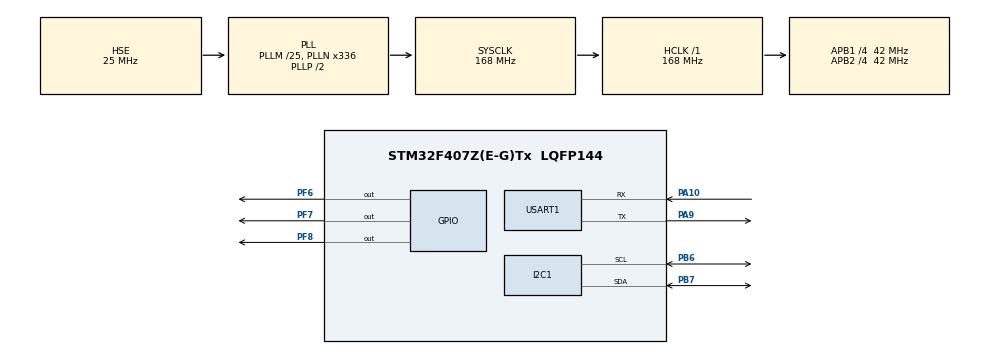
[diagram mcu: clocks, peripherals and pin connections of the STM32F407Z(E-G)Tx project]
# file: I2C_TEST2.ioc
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I2C1.I2C_Mode=I2C_Fast
Mcu.Family=STM32F4
Mcu.Name=STM32F407Z(E-G)Tx
Mcu.Package=LQFP144
NVIC.I2C1_ER_IRQn=true\:0\:0\:false\:false\:true\:true\:true
NVIC.I2C1_EV_IRQn=true\:0\:0\:false\:false\:true\:true\:true
NVIC.PriorityGroup=NVIC_PRIORITYGROUP_4
NVIC.RCC_IRQn=true\:0\:0\:false\:false\:true\:true\:false
NVIC.USART1_IRQn=true\:0\:0\:false\:false\:true\:true\:true
PA10.Mode=Asynchronous
PA10.Signal=USART1_RX
PA13.Mode=Serial_Wire
PA13.Signal=SYS_JTMS-SWDIO
PA14.Mode=Serial_Wire
PA14.Signal=SYS_JTCK-SWCLK
PA9.Mode=Asynchronous
PA9.Signal=USART1_TX
PB6.Mode=I2C
PB6.Signal=I2C1_SCL
PB7.Mode=I2C
PB7.Signal=I2C1_SDA
PC14-OSC32_IN.Mode=LSE-External-Oscillator
PC14-OSC32_IN.Signal=RCC_OSC32_IN
PC15-OSC32_OUT.Mode=LSE-External-Oscillator
PC15-OSC32_OUT.Signal=RCC_OSC32_OUT
PF6.Signal=GPIO_Output
PF7.Signal=GPIO_Output
PF8.Signal=GPIO_Output
PH0-OSC_IN.Mode=HSE-External-Oscillator
PH0-OSC_IN.Signal=RCC_OSC_IN
PH1-OSC_OUT.Mode=HSE-External-Oscillator
PH1-OSC_OUT.Signal=RCC_OSC_OUT
ProjectManager.HeapSize=0x200
ProjectManager.StackSize=0x400
ProjectManager.TargetToolchain=TrueSTUDIO
RCC.48MHZClocksFreq_Value=84000000
RCC.AHBFreq_Value=168000000
RCC.APB1CLKDivider=RCC_HCLK_DIV4
RCC.APB1Freq_Value=42000000
RCC.APB1TimFreq_Value=84000000
RCC.APB2CLKDivider=RCC_HCLK_DIV4
RCC.APB2Freq_Value=42000000
RCC.APB2TimFreq_Value=84000000
RCC.CortexFreq_Value=168000000
RCC.HCLKFreq_Value=168000000
RCC.HSE_VALUE=25000000
RCC.HSI_VALUE=16000000
RCC.PLLM=25
RCC.PLLN=336
RCC.PLLSourceVirtual=RCC_PLLSOURCE_HSE
RCC.SYSCLKFreq_VALUE=168000000
RCC.SYSCLKSource=RCC_SYSCLKSOURCE_PLLCLK
RCC.VCOOutputFreq_Value=336000000
USART1.VirtualMode=VM_ASYNC
board=custom

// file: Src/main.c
/* USER CODE BEGIN Header */
/**
  ******************************************************************************
  * @file           : main.c
  * @brief          : Main program body
  ******************************************************************************
  * @attention
  *
  * <h2><center>&copy; Copyright (c) 2019 STMicroelectronics.
  * All rights reserved.</center></h2>
  *
  * This software component is licensed by ST under BSD 3-Clause license,
  * the "License"; You may not use this file except in compliance with the
  * License. You may obtain a copy of the License at:
  *                        opensource.org/licenses/BSD-3-Clause
  *
  ******************************************************************************
  */
/* USER CODE END Header */

#include "main.h"
#include "i2c.h"
#include "usart.h"
#include "gpio.h"

/* USER CODE BEGIN Includes */
#include <stdio.h>
#include "MPU9250.h"
#include "tm_stm32_ahrs_imu.h"
/* USER CODE END Includes */

/* USER CODE BEGIN PV */
MPU9250_t MPU9250;
float filtered_Az;
TM_AHRSIMU_t IMU;
/* USER CODE END PV */

void SystemClock_Config(void);
/* USER CODE BEGIN PFP */
#ifdef __GNUC__
/* With GCC/RAISONANCE, small printf (option LD Linker->Libraries->Small printf
   set to 'Yes') calls __io_putchar() */
#define PUTCHAR_PROTOTYPE int __io_putchar(int ch)
#else
#define PUTCHAR_PROTOTYPE int fputc(int ch, FILE *f)
#endif /* __GNUC__ */

PUTCHAR_PROTOTYPE
{
    /* Place your implementation of fputc here */
    /* e.g. write a character to the Debug USART and Loop until the end of transmission */

    if('\n' == ch)
    {
        int ch_tmp = '\r';

        /* Place your implementation of fputc here */
        /* e.g. write a character to the EVAL_COM1 and Loop until the end of transmission */
        HAL_UART_Transmit(&huart1, (uint8_t *)&ch_tmp, 1, 0xFFFF);
    }

    /* Place your implementation of fputc here */
    /* e.g. write a character to the EVAL_COM1 and Loop until the end of transmission */
    HAL_UART_Transmit(&huart1, (uint8_t *)&ch, 1, 0xFFFF);

    return ch;
}

/* USER CODE END PFP */

/* USER CODE BEGIN 0 */
void LPF_float(float *raw, float *filtered, float alpha)
{
	*filtered=(1.0-alpha)*(*filtered)+alpha*((*raw));
}
void LPF(int16_t *raw, float *filtered, float alpha)
{
	*filtered=(1.0-alpha)*(*filtered)+alpha*((*raw));
}
//uint8_t data[10]={0x75,};
//uint8_t test;

void HAL_I2C_MasterRxCpltCallback(I2C_HandleTypeDef *hi2c)
{
	//HAL_GPIO_WritePin(GPIOF, GPIO_PIN_6, GPIO_PIN_SET);
	  //printf("%d\n",test);

	//  HAL_I2C_Master_Receive_IT(&hi2c1,(0x68<<1) | 0x01 ,&data[0], sizeof(data[0]));
  /* NOTE : This function should not be modified, when the callback is needed,
            the HAL_I2C_MasterRxCpltCallback could be implemented in the user file
   */
}
/* USER CODE END 0 */

int main(void)
{

  /* MCU Configuration--------------------------------------------------------*/

  /* Reset of all peripherals, Initializes the Flash interface and the Systick. */
  HAL_Init();

  /* Configure the system clock */
  SystemClock_Config();

  /* Initialize all configured peripherals */
  MX_GPIO_Init();
  MX_I2C1_Init();
  MX_USART1_UART_Init();

  /* USER CODE BEGIN 2 */
  //HAL_I2C_Master_Receive_IT(&hi2c1,(0x68<<1) | 0x01 ,data[0], sizeof(data[0]));
	printf("Start\n");
	if (MPU9250_Init(&hi2c1, &MPU9250, MPU9250_Device_0) != MPU9250_Result_Ok) {
    printf("Device error!\r\n");}
	TM_AHRSIMU_Init(&IMU, 1000, 0.5, 0);
  /* USER CODE END 2 */

  /* Infinite loop */
  /* USER CODE BEGIN WHILE */
  while (1)
  {
	//  uint16_t dataa=0;
	  if (MPU9250_DataReady(&hi2c1, &MPU9250) == MPU9250_Result_Ok) {
	  		  MPU9250_ReadAcce(&hi2c1, &MPU9250);
	          MPU9250_ReadGyro(&hi2c1, &MPU9250);
	          MPU9250_ReadMag(&hi2c1, &MPU9250);
	  		}

	  		//LPF(&MPU9250.Az_Raw, &MPU9250.filtered_az, 0.05);
//	  		printf("%d\t%f\n", MPU9250.Az_Raw, MPU9250.filtered_az);
	  		//printf("%d\t%d\t%d\t\n",MPU9250.Ax_Raw ,MPU9250.Ay_Raw, MPU9250.Az_Raw);
	  		//HAL_Delay(20);
	  		//printf("%d\t%d\t%d\t\n",MPU9250.Gx_Raw ,MPU9250.Gy_Raw, MPU9250.Gz_Raw);

	  //printf("%f\t%f\t%f\t\n",MPU9250.Gx ,MPU9250.Gy, MPU9250.Gz);
	  TM_AHRSIMU_UpdateIMU(&IMU, MPU9250.Gx, MPU9250.Gy, MPU9250.Gz, MPU9250.Ax, MPU9250.Ay, MPU9250.Az);
	  printf("R: %f, P: %f, Y: %f\n", IMU.Roll, IMU.Pitch, IMU.Yaw);
	  HAL_Delay(20);
    /* USER CODE END WHILE */

    /* USER CODE BEGIN 3 */
	  //data[0];
	//  printf("%d\n",HAL_I2C_Master_Transmit(&hi2c1,(0x68<<1),&data[0], 1,10000000));
//	  printf("%d\n", hi2c1.ErrorCode);
//	  if(HAL_I2C_Master_Transmit(&hi2c1,(0x68<<1),&data[0], 1,50)==HAL_OK)
//	  {
//			HAL_GPIO_WritePin(GPIOF, GPIO_PIN_7, GPIO_PIN_SET);
//			printf("tx good\n");
//		  HAL_I2C_Master_Receive(&hi2c1,((0x68<<1)| 0x01) ,(uint8_t*)&test, 1,50);
//	  }

	  //HAL_I2C_Mem_Read(&hi2c1, (0x68<<1 )| 0x01, 0x44,sizeof(uint8_t), &data[0], sizeof(data[0]), 50);
	  //HAL_I2C_Mem_Read(&hi2c1, (0x68<<1 )| 0x01, 0x44,sizeof(uint8_t), &data[1], sizeof(data[1]), 50);
	//  dataa=data[0] | (data[1]<<4);
//	  printf("%d\n",data[0]);
	//  HAL_Delay(100);
	  //  printf("%d\n",dataa);
  }
  /* USER CODE END 3 */
}

void SystemClock_Config(void)
{
  RCC_OscInitTypeDef RCC_OscInitStruct = {0};
  RCC_ClkInitTypeDef RCC_ClkInitStruct = {0};

  /** Configure the main internal regulator output voltage
  */
  __HAL_RCC_PWR_CLK_ENABLE();
  __HAL_PWR_VOLTAGESCALING_CONFIG(PWR_REGULATOR_VOLTAGE_SCALE1);
  /** Initializes the CPU, AHB and APB busses clocks
  */
  RCC_OscInitStruct.OscillatorType = RCC_OSCILLATORTYPE_HSE;
  RCC_OscInitStruct.HSEState = RCC_HSE_ON;
  RCC_OscInitStruct.PLL.PLLState = RCC_PLL_ON;
  RCC_OscInitStruct.PLL.PLLSource = RCC_PLLSOURCE_HSE;
  RCC_OscInitStruct.PLL.PLLM = 25;
  RCC_OscInitStruct.PLL.PLLN = 336;
  RCC_OscInitStruct.PLL.PLLP = RCC_PLLP_DIV2;
  RCC_OscInitStruct.PLL.PLLQ = 4;
  if (HAL_RCC_OscConfig(&RCC_OscInitStruct) != HAL_OK)
  {
    Error_Handler();
  }
  /** Initializes the CPU, AHB and APB busses clocks
  */
  RCC_ClkInitStruct.ClockType = RCC_CLOCKTYPE_HCLK|RCC_CLOCKTYPE_SYSCLK
                              |RCC_CLOCKTYPE_PCLK1|RCC_CLOCKTYPE_PCLK2;
  RCC_ClkInitStruct.SYSCLKSource = RCC_SYSCLKSOURCE_PLLCLK;
  RCC_ClkInitStruct.AHBCLKDivider = RCC_SYSCLK_DIV1;
  RCC_ClkInitStruct.APB1CLKDivider = RCC_HCLK_DIV4;
  RCC_ClkInitStruct.APB2CLKDivider = RCC_HCLK_DIV4;

  if (HAL_RCC_ClockConfig(&RCC_ClkInitStruct, FLASH_LATENCY_5) != HAL_OK)
  {
    Error_Handler();
  }
}

void Error_Handler(void)
{
}

/************************ (C) COPYRIGHT STMicroelectronics *****END OF FILE****/
